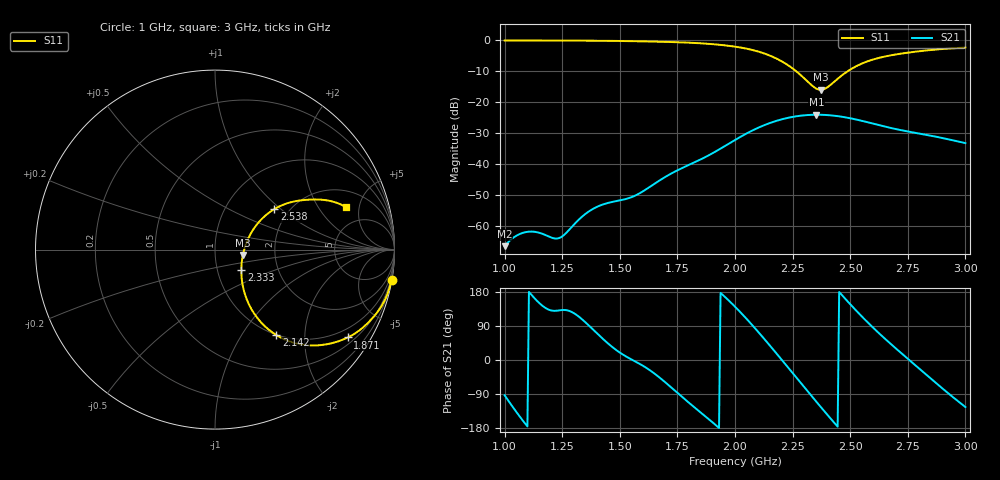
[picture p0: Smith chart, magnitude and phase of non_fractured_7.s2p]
! TOUCHSTONE file generated by CST MICROWAVE STUDIO
! Date and time: Sat Mar  8 13:53:55 2025
! Project name: non_fractured.cst
! Parameters = {B=2.5; D=160; F=5; Feed=2.85625; L=100; M=5; R=0.384908; S=1.5; Theta=180; length=57.125; wave=114.25}
! Header version: 2024
! Port assignment regex: !\s*Touchstone port\s*([0-9]+)\s*=\s*(CST MWS port|CST DES external port|CST DES block port)\s*(.+)\s* \(\"(.*)\"\)(\s*mode\s*([0-9]+))?.*
! Touchstone port assignment:
! Touchstone port 1 = CST MWS port 1 ("")
! Touchstone port 2 = CST MWS port 2 ("")
# GHz S DB R 50
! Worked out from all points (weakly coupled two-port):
!   304 points, 1 GHz to 3 GHz, reference 50 ohm
!   highest |S21| = -24.09 dB at 2.353 GHz (marker M1); lowest = -66.7 dB at 1 GHz (marker M2)
!   lowest |S11| = -16.0 dB at 2.373 GHz (marker M3), VSWR 1.38, Z = 68.2 - j4.16 ohm
!   |S11| at or under -10 dB: 2.266 GHz to 2.489 GHz (223.2 MHz wide, 9.39 % of centre)
!   S12 and S22 are empty: the file has one direction only
!   S11 on the Smith chart (normalised r, x): 1 GHz: 0, -12; 1.871 GHz: 0.69, -3.18; 2.142 GHz: 0.99, -1.44; 2.333 GHz: 1.30, -0.31; 2.538 GHz: 1.68, +0.91; 3 GHz: 3.16, +3.63
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1  -0.02 -9.7  -66.69 -93.0  -200.00 0.0  -200.00 0.0
1.0462  -0.02 -10.4  -63.53 -133.2  -200.00 0.0  -200.00 0.0
1.09901  -0.03 -11.1  -62.04 -175.3  -200.00 0.0  -200.00 0.0
1.23762  -0.05 -13.3  -64.04 131.0  -200.00 0.0  -200.00 0.0
1.33663  -0.08 -15.2  -57.10 107.1  -200.00 0.0  -200.00 0.0
1.41584  -0.12 -17.0  -53.47 61.8  -200.00 0.0  -200.00 0.0
1.56766  -0.26 -20.9  -50.27 -4.1  -200.00 0.0  -200.00 0.0
1.66667  -0.42 -24.1  -45.68 -43.4  -200.00 0.0  -200.00 0.0
1.87129  -1.04 -33.5  -37.82 -148.7  -200.00 0.0  -200.00 0.0
2.0033  -2.06 -42.5  -32.13 138.8  -200.00 0.0  -200.00 0.0
2.14191  -4.64 -54.3  -27.04 44.9  -200.00 0.0  -200.00 0.0
2.23432  -8.25 -58.5  -25.02 -22.7  -200.00 0.0  -200.00 0.0
2.33333  -14.58 -38.3  -24.12 -95.7  -200.00 0.0  -200.00 0.0
2.33993  -14.98 -34.6  -24.10 -100.5  -200.00 0.0  -200.00 0.0
2.35314  -15.63 -25.9  -24.09 -110.2  -200.00 0.0  -200.00 0.0
2.37294  -16.02 -10.8  -24.10 -124.5  -200.00 0.0  -200.00 0.0
2.39934  -15.29 8.2  -24.20 -143.5  -200.00 0.0  -200.00 0.0
2.47855  -10.53 32.6  -24.93 161.5  -200.00 0.0  -200.00 0.0
2.53795  -7.93 34.3  -25.85 122.7  -200.00 0.0  -200.00 0.0
2.66997  -4.93 29.2  -28.28 45.6  -200.00 0.0  -200.00 0.0
2.84818  -3.13 22.9  -30.86 -48.1  -200.00 0.0  -200.00 0.0
3  -2.32 18.1  -33.29 -124.1  -200.00 0.0  -200.00 0.0
